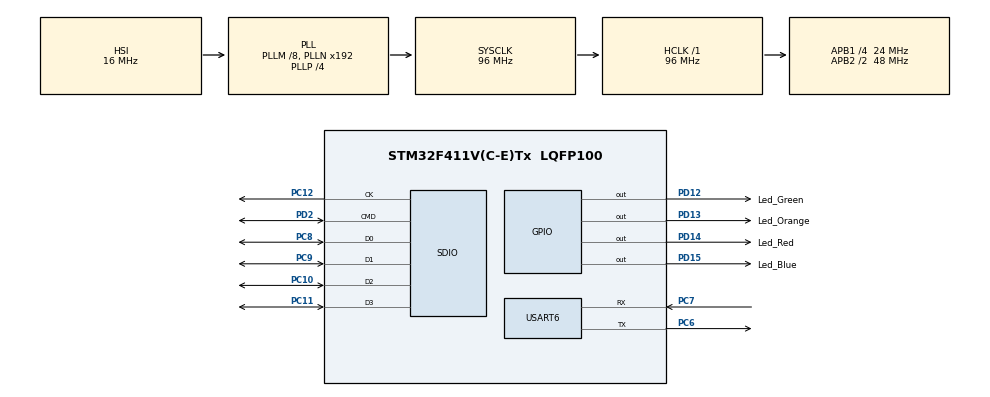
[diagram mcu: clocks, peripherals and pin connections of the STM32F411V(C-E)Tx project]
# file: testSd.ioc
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Mcu.Family=STM32F4
Mcu.Name=STM32F411V(C-E)Tx
Mcu.Package=LQFP100
NVIC.PriorityGroup=NVIC_PRIORITYGROUP_0
NVIC.SDIO_IRQn=true\:0\:0\:false
PC10.Mode=SD_4_bits_Wide_bus
PC10.Signal=SDIO_D2
PC11.Mode=SD_4_bits_Wide_bus
PC11.Signal=SDIO_D3
PC12.Mode=SD_4_bits_Wide_bus
PC12.Signal=SDIO_CK
PC6.Mode=Asynchronous
PC6.Signal=USART6_TX
PC7.Mode=Asynchronous
PC7.Signal=USART6_RX
PC8.Mode=SD_4_bits_Wide_bus
PC8.Signal=SDIO_D0
PC9.Mode=SD_4_bits_Wide_bus
PC9.Signal=SDIO_D1
PD12.GPIO_Label=Led_Green
PD12.Signal=GPIO_Output
PD13.GPIO_Label=Led_Orange
PD13.Signal=GPIO_Output
PD14.GPIO_Label=Led_Red
PD14.Signal=GPIO_Output
PD15.GPIO_Label=Led_Blue
PD15.Signal=GPIO_Output
PD2.Mode=SD_4_bits_Wide_bus
PD2.Signal=SDIO_CMD
ProjectManager.HeapSize=0x400
ProjectManager.StackSize=0x200
ProjectManager.TargetToolchain=TrueSTUDIO
RCC.48MHZClocksFreq_Value=48000000
RCC.AHBFreq_Value=96000000
RCC.APB1CLKDivider=RCC_HCLK_DIV4
RCC.APB1Freq_Value=24000000
RCC.APB1TimFreq_Value=48000000
RCC.APB2CLKDivider=RCC_HCLK_DIV2
RCC.APB2Freq_Value=48000000
RCC.APB2TimFreq_Value=96000000
RCC.CortexFreq_Value=96000000
RCC.HCLKFreq_Value=96000000
RCC.HSE_VALUE=8000000
RCC.HSI_VALUE=16000000
RCC.LSE_VALUE=32768
RCC.PLLI2SM=5
RCC.PLLI2SN=200
RCC.PLLM=8
RCC.PLLP=RCC_PLLP_DIV4
RCC.PLLQ=8
RCC.SYSCLKFreq_VALUE=96000000
RCC.SYSCLKSource=RCC_SYSCLKSOURCE_PLLCLK
RCC.VCOOutputFreq_Value=384000000
SDIO.BusWide=SDIO_BUS_WIDE_1B
SDIO.ClockDiv=255
SDIO.WideMode=SDIO_BUS_WIDE_4B
VP_FATFS_VS_SDIO.Mode=SDIO
board=STM32F411E-DISCO

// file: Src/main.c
/**
  ******************************************************************************
  * File Name          : main.c
  * Description        : Main program body
  ******************************************************************************
  *
  * COPYRIGHT(c) 2016 STMicroelectronics
  *
  * Redistribution and use in source and binary forms, with or without modification,
  * are permitted provided that the following conditions are met:
  *   1. Redistributions of source code must retain the above copyright notice,
  *      this list of conditions and the following disclaimer.
  *   2. Redistributions in binary form must reproduce the above copyright notice,
  *      this list of conditions and the following disclaimer in the documentation
  *      and/or other materials provided with the distribution.
  *   3. Neither the name of STMicroelectronics nor the names of its contributors
  *      may be used to endorse or promote products derived from this software
  *      without specific prior written permission.
  *
  * THIS SOFTWARE IS PROVIDED BY THE COPYRIGHT HOLDERS AND CONTRIBUTORS "AS IS"
  * AND ANY EXPRESS OR IMPLIED WARRANTIES, INCLUDING, BUT NOT LIMITED TO, THE
  * IMPLIED WARRANTIES OF MERCHANTABILITY AND FITNESS FOR A PARTICULAR PURPOSE ARE
  * DISCLAIMED. IN NO EVENT SHALL THE COPYRIGHT HOLDER OR CONTRIBUTORS BE LIABLE
  * FOR ANY DIRECT, INDIRECT, INCIDENTAL, SPECIAL, EXEMPLARY, OR CONSEQUENTIAL
  * DAMAGES (INCLUDING, BUT NOT LIMITED TO, PROCUREMENT OF SUBSTITUTE GOODS OR
  * SERVICES; LOSS OF USE, DATA, OR PROFITS; OR BUSINESS INTERRUPTION) HOWEVER
  * CAUSED AND ON ANY THEORY OF LIABILITY, WHETHER IN CONTRACT, STRICT LIABILITY,
  * OR TORT (INCLUDING NEGLIGENCE OR OTHERWISE) ARISING IN ANY WAY OUT OF THE USE
  * OF THIS SOFTWARE, EVEN IF ADVISED OF THE POSSIBILITY OF SUCH DAMAGE.
  *
  ******************************************************************************
  */
#include "stm32f4xx_hal.h"
#include "fatfs.h"

/* USER CODE BEGIN Includes */

#include <string.h>

/* USER CODE END Includes */

SD_HandleTypeDef hsd;
HAL_SD_CardInfoTypedef SDCardInfo;

UART_HandleTypeDef huart6;

/* USER CODE BEGIN PV */
/* Private variables ---------------------------------------------------------*/

FATFS SDFatFs;  /* File system object for SD disk logical drive */
FIL MyFile;

/* USER CODE END PV */

void SystemClock_Config(void);
static void MX_GPIO_Init(void);
static void MX_SDIO_SD_Init(void);
static void MX_USART6_UART_Init(void);

/* USER CODE BEGIN PFP */
/* Private function prototypes -----------------------------------------------*/

void probeer(FRESULT status, char * message);
FRESULT scan_files(char * path);

/* USER CODE END PFP */

int main(void)
{

  /* MCU Configuration----------------------------------------------------------*/

  /* Reset of all peripherals, Initializes the Flash interface and the Systick. */
  HAL_Init();

  /* Configure the system clock */
  SystemClock_Config();

  /* Initialize all configured peripherals */
  MX_GPIO_Init();
  MX_SDIO_SD_Init();
  MX_USART6_UART_Init();
  MX_FATFS_Init();

  /* USER CODE BEGIN 2 */

  uint32_t bytesread;
  char rtext[100];

  // We gaan de file lezen

  probeer(f_open(&MyFile, "random.txt", FA_READ),"open random.txt");
  probeer(f_read(&MyFile, rtext, sizeof(rtext), (UINT*)&bytesread),"read random.text");
  f_close(&MyFile);

  // Nu sturen we de gelezen data over de uart

  HAL_UART_Transmit(&huart6,(uint8_t*)rtext,strlen(rtext),10);

  HAL_UART_Transmit(&huart6,"\nBestanden en mappen op sd:\n",28,10);

  scan_files("/");

  if(MX_FatFs_Unmount() != 0)
  {
	  HAL_GPIO_WritePin(GPIOD,Led_Red_Pin,GPIO_PIN_SET);
  }

  /* USER CODE END 2 */

  /* Infinite loop */
  while (1)
  {

  }

}

/** System Clock Configuration
*/
void SystemClock_Config(void)
{

  RCC_OscInitTypeDef RCC_OscInitStruct;
  RCC_ClkInitTypeDef RCC_ClkInitStruct;

  __PWR_CLK_ENABLE();

  __HAL_PWR_VOLTAGESCALING_CONFIG(PWR_REGULATOR_VOLTAGE_SCALE1);

  RCC_OscInitStruct.OscillatorType = RCC_OSCILLATORTYPE_HSI;
  RCC_OscInitStruct.HSIState = RCC_HSI_ON;
  RCC_OscInitStruct.HSICalibrationValue = 16;
  RCC_OscInitStruct.PLL.PLLState = RCC_PLL_ON;
  RCC_OscInitStruct.PLL.PLLSource = RCC_PLLSOURCE_HSI;
  RCC_OscInitStruct.PLL.PLLM = 8;
  RCC_OscInitStruct.PLL.PLLN = 192;
  RCC_OscInitStruct.PLL.PLLP = RCC_PLLP_DIV4;
  RCC_OscInitStruct.PLL.PLLQ = 8;
  HAL_RCC_OscConfig(&RCC_OscInitStruct);

  RCC_ClkInitStruct.ClockType = RCC_CLOCKTYPE_HCLK|RCC_CLOCKTYPE_SYSCLK
                              |RCC_CLOCKTYPE_PCLK1|RCC_CLOCKTYPE_PCLK2;
  RCC_ClkInitStruct.SYSCLKSource = RCC_SYSCLKSOURCE_PLLCLK;
  RCC_ClkInitStruct.AHBCLKDivider = RCC_SYSCLK_DIV1;
  RCC_ClkInitStruct.APB1CLKDivider = RCC_HCLK_DIV4;
  RCC_ClkInitStruct.APB2CLKDivider = RCC_HCLK_DIV2;
  HAL_RCC_ClockConfig(&RCC_ClkInitStruct, FLASH_LATENCY_3);

  HAL_SYSTICK_Config(HAL_RCC_GetHCLKFreq()/1000);

  HAL_SYSTICK_CLKSourceConfig(SYSTICK_CLKSOURCE_HCLK);

  /* SysTick_IRQn interrupt configuration */
  HAL_NVIC_SetPriority(SysTick_IRQn, 0, 0);
}

/* SDIO init function */
void MX_SDIO_SD_Init(void)
{

  hsd.Instance = SDIO;
  hsd.Init.ClockEdge = SDIO_CLOCK_EDGE_RISING;
  hsd.Init.ClockBypass = SDIO_CLOCK_BYPASS_DISABLE;
  hsd.Init.ClockPowerSave = SDIO_CLOCK_POWER_SAVE_DISABLE;
  hsd.Init.BusWide = SDIO_BUS_WIDE_1B;
  hsd.Init.HardwareFlowControl = SDIO_HARDWARE_FLOW_CONTROL_DISABLE;
  hsd.Init.ClockDiv = 255;

}

/* USART6 init function */
void MX_USART6_UART_Init(void)
{

  huart6.Instance = USART6;
  huart6.Init.BaudRate = 115200;
  huart6.Init.WordLength = UART_WORDLENGTH_8B;
  huart6.Init.StopBits = UART_STOPBITS_1;
  huart6.Init.Parity = UART_PARITY_NONE;
  huart6.Init.Mode = UART_MODE_TX_RX;
  huart6.Init.HwFlowCtl = UART_HWCONTROL_NONE;
  huart6.Init.OverSampling = UART_OVERSAMPLING_16;
  HAL_UART_Init(&huart6);

}

/** Configure pins as
        * Analog
        * Input
        * Output
        * EVENT_OUT
        * EXTI
*/
void MX_GPIO_Init(void)
{

  GPIO_InitTypeDef GPIO_InitStruct;

  /* GPIO Ports Clock Enable */
  __GPIOD_CLK_ENABLE();
  __GPIOC_CLK_ENABLE();

  /*Configure GPIO pin Output Level */
  HAL_GPIO_WritePin(GPIOD, Led_Green_Pin|Led_Orange_Pin|Led_Red_Pin|Led_Blue_Pin, GPIO_PIN_RESET);

  /*Configure GPIO pins : Led_Green_Pin Led_Orange_Pin Led_Red_Pin Led_Blue_Pin */
  GPIO_InitStruct.Pin = Led_Green_Pin|Led_Orange_Pin|Led_Red_Pin|Led_Blue_Pin;
  GPIO_InitStruct.Mode = GPIO_MODE_OUTPUT_PP;
  GPIO_InitStruct.Pull = GPIO_NOPULL;
  GPIO_InitStruct.Speed = GPIO_SPEED_LOW;
  HAL_GPIO_Init(GPIOD, &GPIO_InitStruct);

}

/* USER CODE BEGIN 4 */

//
//	Probeer een functie uit te voeren.
// 	Bij mislukken wordt een error bericht op uart gezet, en rood flikkert
//
void probeer(FRESULT status, char * message)
{
	char buffer[50];

	if(status != FR_OK)
	{
		sprintf(buffer,"%s is gestopt met code: %d\n",message,status);
		errorHandler(buffer,strlen(buffer));
	}
}

FRESULT scan_files(char * path)
{
	FRESULT res;
	FILINFO fileInfo;
	DIR dir;
	uint8_t teller = 0;
	char * fileName;
	char buffer[20];

	//char bestanden[100][20];		// Array om alle bestandsnamen op te slaan

	if((res = f_opendir(&dir, path)) == FR_OK)	// de directory openen op de schijf
	{
		while(1)
		{
			res = f_readdir(&dir,&fileInfo);
			if((res != FR_OK) || (fileInfo.fname[0] == 0))
			{
				//bestanden[teller] = 0;
				break;					// break op einde
			}
			if(fileInfo.fname[0] == '.') continue;						// Een punt negeren

			fileName = fileInfo.fname;

			if(!(fileInfo.fattrib & AM_DIR))			// Kijken of het een bestand is(geen map)
			{
				//strcpy(bestanden[teller],fileName);
				sprintf(buffer,"%s\n",fileName);
				HAL_UART_Transmit(&huart6,buffer,strlen(buffer),10);
				teller ++;
			}
			else		// Hier is het een map
			{
				sprintf(buffer,"/%s\n",fileName);
				HAL_UART_Transmit(&huart6,buffer,strlen(buffer),10);
			}

		}
	}

	return res;

}

/* USER CODE END 4 */

/************************ (C) COPYRIGHT STMicroelectronics *****END OF FILE****/
